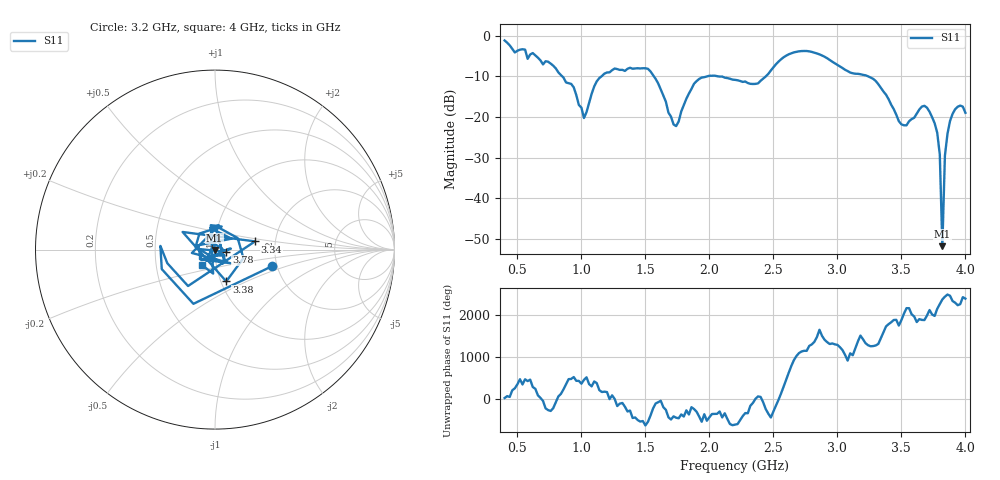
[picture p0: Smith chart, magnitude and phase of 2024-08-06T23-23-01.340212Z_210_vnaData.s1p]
!Created with skrf (http://scikit-rf.org).
# Hz S RI R 50.0
!freq ReS11 ImS11
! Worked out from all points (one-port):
!   181 points, 400 MHz to 4 GHz, reference 50 ohm
!   lowest |S11| = -51.7 dB at 3.82 GHz (marker M1), VSWR 1.01, Z = 49.8 - j0.136 ohm
!   |S11| at or under -10 dB: 1.566 GHz to 1.985 GHz (419.3 MHz wide, 23.6 % of centre); 2.066 GHz to 2.442 GHz (375.5 MHz wide, 16.7 % of centre); 3.239 GHz to end of sweep (the widest 3 of 4)
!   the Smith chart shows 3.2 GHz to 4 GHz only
!   S11 on the Smith chart (normalised r, x): 3.2 GHz: 1.87, -0.39; 3.34 GHz: 1.56, +0.15; 3.38 GHz: 1.06, -0.39; 3.78 GHz: 1.13, -0.03; 4 GHz: 0.85, -0.15
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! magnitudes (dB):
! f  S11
! 400 MHz  -1.2
! 860 MHz  -10.3
! 940 MHz  -12.7
! 1.02 GHz  -20.3
! 1.12 GHz  -11.2
! 1.3 GHz  -8.4
! 1.52 GHz  -8.2
! 1.6 GHz  -11.8
! 1.72 GHz  -21.8
! 1.76 GHz  -21.1
! 1.92 GHz  -10.7
! 2.2 GHz  -10.9
! 2.38 GHz  -11.7
! 2.66 GHz  -4.1
! 3.1 GHz  -9.1
! 3.2 GHz  -9.6
! 3.34 GHz  -12.9
! 3.38 GHz  -14.5
! 3.5 GHz  -21.8
! 3.56 GHz  -21.0
! 3.68 GHz  -17.3
! 3.78 GHz  -23.9
! 3.8 GHz  -29.2
! 3.82 GHz  -51.7
! 3.84 GHz  -29.5
! 3.86 GHz  -24.1
! 3.92 GHz  -18.1
! 4 GHz  -19.0
